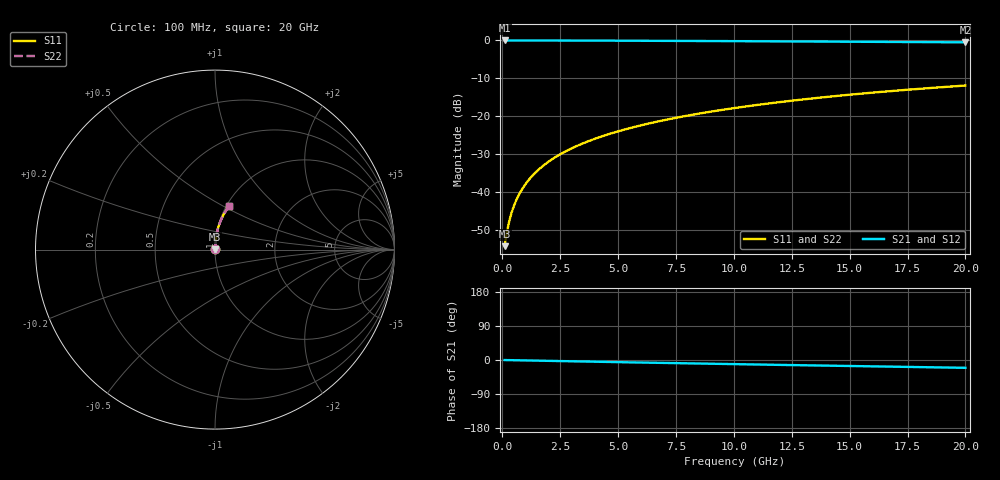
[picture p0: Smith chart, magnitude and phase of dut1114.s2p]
! Touchstone file exported from HFSS 2024.1.0
!  File:  C:/UserFiles/LocalFiles/RDL_TSV_Batchsim/temp_RDL_top_1114_1780046794.aedt
!  Generated:  05:28:45 PM May 29, 2026
!  Design:  RDL_top
!  Project:  temp_RDL_top_1114_1780046794
!  Setup:  Setup1
!  Solution:  Sweep
! Variables:
!  dtsv = 10.80580581um
!  hbump = 3um
!  htsv = 93.74um
!  ldown = 100um
!  lrdl = 233.29um
!  p = 40
!  p1 = 51.81um
!  rhole = 1um
!  t = 450um
!  tdown = 3.915915916um
!  trdl = 4.26um
!  wdown = 15.38538539um
!  wrdl = 14.76um
# GHz S MA R 50.000000
! Terminal data exported
! Port[1] = Box2_T1
! Port[2] = Box2_T2
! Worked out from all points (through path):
!   200 points, 100 MHz to 20 GHz, reference 50 ohm
!   highest |S21| = -0.01 dB at 100 MHz (marker M1); lowest = -0.5 dB at 20 GHz (marker M2)
!   group delay of S21, straight-line fit = 2.85 ps
!   lowest |S11| = -54.2 dB at 100 MHz (marker M3), VSWR 1.00, Z = 50.1 + j0.132 ohm
!   |S11| at or under -10 dB: start of sweep to end of sweep
!   |S22| runs from -54.2 to -11.9 dB; largest |S21 - S12| = 3e-15
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0.1  0.001957 42.3  0.9985 -0.1  0.9985 -0.1  0.001957 42.3
! Gamma 0 0 0 0
! Port Impedance 50 0 50 0
0.2  0.003007 60.4  0.9985 -0.2  0.9985 -0.2  0.003007 60.4
0.3  0.004181 68.5  0.9985 -0.4  0.9985 -0.4  0.00418 68.5
0.4  0.005388 73.0  0.9984 -0.5  0.9984 -0.5  0.005387 73.0
0.5  0.006608 75.9  0.9983 -0.6  0.9983 -0.6  0.006608 75.9
0.6  0.007838 77.9  0.9983 -0.7  0.9983 -0.7  0.007838 77.9
0.8  0.01031 80.5  0.9982 -0.9  0.9982 -0.9  0.01031 80.5
1.1  0.01405 82.6  0.998 -1.3  0.998 -1.3  0.01405 82.6
1.5  0.01907 84.0  0.9977 -1.7  0.9977 -1.7  0.01907 84.0
1.8  0.02285 84.6  0.9974 -2.1  0.9974 -2.1  0.02285 84.6
2.1  0.02663 85.0  0.997 -2.4  0.997 -2.4  0.02663 85.0
2.7  0.03421 85.4  0.9963 -3.1  0.9963 -3.1  0.03422 85.4
3.5  0.04436 85.4  0.9949 -4.0  0.9949 -4.0  0.04436 85.4
4.2  0.05328 85.3  0.9936 -4.8  0.9936 -4.8  0.05328 85.3
5  0.06352 84.9  0.9918 -5.6  0.9918 -5.6  0.06352 85.0
5.9  0.0751 84.5  0.9897 -6.6  0.9897 -6.6  0.0751 84.5
6.8  0.08673 83.9  0.9873 -7.6  0.9873 -7.6  0.08673 83.9
8.3  0.1062 82.8  0.9831 -9.2  0.9831 -9.2  0.1062 82.8
10.1  0.1297 81.3  0.9777 -11.0  0.9777 -11.0  0.1297 81.3
13.4  0.1725 78.3  0.9671 -14.3  0.9671 -14.3  0.1725 78.3
16.7  0.2143 75.1  0.9555 -17.5  0.9555 -17.5  0.2143 75.1
20  0.2547 71.9  0.9431 -20.6  0.9431 -20.6  0.2547 71.9
